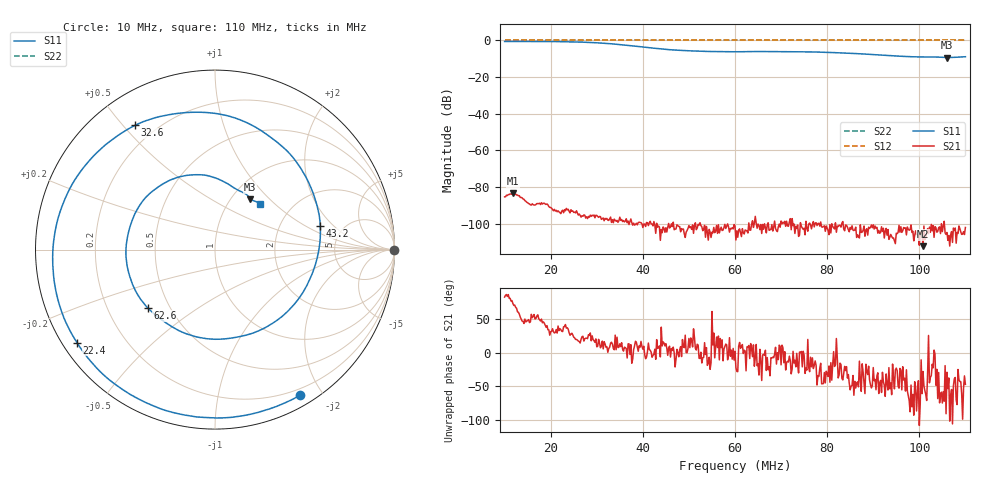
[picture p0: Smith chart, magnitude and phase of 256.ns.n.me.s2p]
! Anritsu VNA Master:  Model: MS2036C/10/77
! SN:  1601066
! /card0/usr/256.ns.n.me.s2p
! Existing Calibration Information:
! TYPE:  Current Settings,  Active Cal Settings
! TIME:  12/19/2017 04:10:08 PM,  12/19/2017 03:58:02 PM
! INTERNAL TEMP:  46.8 C,  47.0 C
! # POINTS:  501,  501
! START FREQ:  10.000 MHz,  10.000 MHz
! STOP FREQ:  110.000 MHz,  110.000 MHz
! SOURCE POWER:  High,  High
! IFBW:  100 Hz,  100 Hz
! AVG FACTOR:  1 ,  1
! REF PLANE 1:  0 mm,  0 mm
! REF PLANE 2:  0 mm,  0 mm
! CAL TYPE:  Full S11,  Full S11
! CAL METHOD:  SOLT,  SOLT
! CAL LINE TYPE:  Coax,  Coax
! DUT PORT 1:  N-Conn(F),  N-Conn(F)
! DUT PORT 2:  K-Conn(F),  K-Conn(F)
! CAL STATUS:  OK: Accuracy High,  --
# GHZ S DB R 50.0
! FREQ.GHZ  S11DB  S11A  S21DB  S21A  S12DB  S12A  S22DB  S22A
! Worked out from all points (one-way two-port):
!   501 points, 10 MHz to 110 MHz, reference 50 ohm
!   highest |S21| = -83.49 dB at 11.8 MHz (marker M1); lowest = -112.2 dB at 100.8 MHz (marker M2)
!   lowest |S11| = -9.3 dB at 106 MHz (marker M3), VSWR 2.04, Z = 61 + j38.7 ohm
!   |S11| at or under -10 dB: nowhere
!   |S22| runs from 0.0 to 0.0 dB; largest |S21 - S12| = 1
!   S11 on the Smith chart (normalised r, x): 10 MHz: 0.13, -1.73; 22.4 MHz: 0.04, -0.30; 32.6 MHz: 0.13, +0.54; 43.2 MHz: 3.38, +1.41; 62.6 MHz: 0.38, -0.32; 110 MHz: 1.39, +0.82
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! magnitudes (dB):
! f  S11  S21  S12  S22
! 10 MHz  -0.6  -85.3  0.0  0.0
! 11.8 MHz  -0.6  -83.5  0.0  0.0
! 22.4 MHz  -0.7  -93.1  0.0  0.0
! 26.8 MHz  -0.9  -95.6  0.0  0.0
! 32.6 MHz  -1.7  -98.2  0.0  0.0
! 36.4 MHz  -2.5  -97.3  0.0  0.0
! 43.2 MHz  -4.4  -101.9  0.0  0.0
! 43.4 MHz  -4.5  -101.3  0.0  0.0
! 46.6 MHz  -5.2  -99.2  0.0  0.0
! 52.6 MHz  -5.9  -101.0  0.0  0.0
! 60 MHz  -6.2  -101.3  0.0  0.0
! 62.6 MHz  -6.1  -104.0  0.0  0.0
! 69 MHz  -6.1  -103.7  0.0  0.0
! 76.8 MHz  -6.3  -100.3  0.0  0.0
! 84.8 MHz  -7.0  -104.4  0.0  0.0
! 89.2 MHz  -7.5  -102.6  0.0  0.0
! 93.4 MHz  -8.3  -108.5  0.0  0.0
! 97.8 MHz  -8.8  -103.5  0.0  0.0
! 100.8 MHz  -9.0  -112.2  0.0  0.0
! 103.4 MHz  -9.0  -101.6  0.0  0.0
! 106 MHz  -9.3  -104.8  0.0  0.0
! 110 MHz  -8.9  -102.0  0.0  0.0
